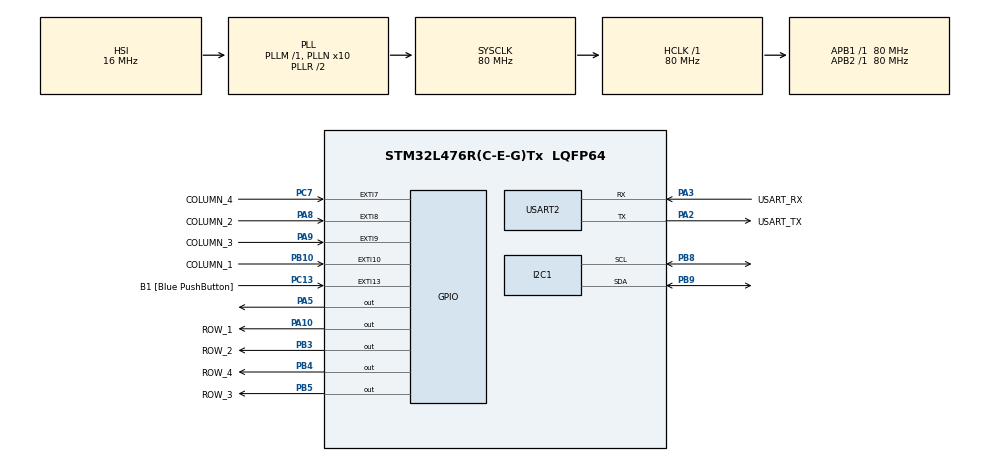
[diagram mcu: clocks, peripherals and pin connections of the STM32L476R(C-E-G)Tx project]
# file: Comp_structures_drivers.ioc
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I2C1.Timing=0x10909CEC
Mcu.Family=STM32L4
Mcu.Name=STM32L476R(C-E-G)Tx
Mcu.Package=LQFP64
NVIC.EXTI15_10_IRQn=true\:0\:0\:false\:false\:true\:true\:true\:true
NVIC.EXTI9_5_IRQn=true\:0\:0\:false\:false\:true\:true\:true\:true
NVIC.PriorityGroup=NVIC_PRIORITYGROUP_4
NVIC.USART2_IRQn=true\:0\:0\:false\:false\:true\:true\:true\:true
PA10.GPIO_Label=ROW_1
PA10.Signal=GPIO_Output
PA13\ (JTMS-SWDIO).GPIO_Label=TMS
PA13\ (JTMS-SWDIO).Mode=Serial_Wire
PA13\ (JTMS-SWDIO).Signal=SYS_JTMS-SWDIO
PA14\ (JTCK-SWCLK).GPIO_Label=TCK
PA14\ (JTCK-SWCLK).Mode=Serial_Wire
PA14\ (JTCK-SWCLK).Signal=SYS_JTCK-SWCLK
PA2.GPIO_Label=USART_TX
PA2.GPIO_Mode=GPIO_MODE_AF_PP
PA2.GPIO_PuPd=GPIO_NOPULL
PA2.GPIO_Speed=GPIO_SPEED_FREQ_VERY_HIGH
PA2.Mode=Asynchronous
PA2.Signal=USART2_TX
PA3.GPIO_Label=USART_RX
PA3.GPIO_Mode=GPIO_MODE_AF_PP
PA3.GPIO_PuPd=GPIO_NOPULL
PA3.GPIO_Speed=GPIO_SPEED_FREQ_VERY_HIGH
PA3.Mode=Asynchronous
PA3.Signal=USART2_RX
PA5.Signal=GPIO_Output
PA8.GPIO_Label=COLUMN_2
PA8.GPIO_PuPd=GPIO_PULLDOWN
PA8.Signal=GPXTI8
PA9.GPIO_Label=COLUMN_3
PA9.GPIO_PuPd=GPIO_PULLDOWN
PA9.Signal=GPXTI9
PB10.GPIO_Label=COLUMN_1
PB10.GPIO_PuPd=GPIO_PULLDOWN
PB10.Signal=GPXTI10
PB3\ (JTDO-TRACESWO).GPIO_Label=ROW_2
PB3\ (JTDO-TRACESWO).Signal=GPIO_Output
PB4\ (NJTRST).GPIO_Label=ROW_4
PB4\ (NJTRST).Signal=GPIO_Output
PB5.GPIO_Label=ROW_3
PB5.Signal=GPIO_Output
PB8.Mode=I2C
PB8.Signal=I2C1_SCL
PB9.Mode=I2C
PB9.Signal=I2C1_SDA
PC13.GPIO_Label=B1 [Blue PushButton]
PC13.GPIO_ModeDefaultEXTI=GPIO_MODE_IT_FALLING
PC13.GPIO_PuPd=GPIO_NOPULL
PC13.Signal=GPXTI13
PC14-OSC32_IN\ (PC14).Mode=LSE-External-Oscillator
PC14-OSC32_IN\ (PC14).Signal=RCC_OSC32_IN
PC15-OSC32_OUT\ (PC15).Mode=LSE-External-Oscillator
PC15-OSC32_OUT\ (PC15).Signal=RCC_OSC32_OUT
PC7.GPIO_Label=COLUMN_4
PC7.GPIO_PuPd=GPIO_PULLDOWN
PC7.Signal=GPXTI7
PH0-OSC_IN\ (PH0).Signal=RCC_OSC_IN
PH1-OSC_OUT\ (PH1).Signal=RCC_OSC_OUT
ProjectManager.HeapSize=0x200
ProjectManager.StackSize=0x400
ProjectManager.TargetToolchain=STM32CubeIDE
RCC.ADCFreq_Value=64000000
RCC.AHBFreq_Value=80000000
RCC.APB1Freq_Value=80000000
RCC.APB1TimFreq_Value=80000000
RCC.APB2Freq_Value=80000000
RCC.APB2TimFreq_Value=80000000
RCC.CortexFreq_Value=80000000
RCC.HCLKFreq_Value=80000000
RCC.HSE_VALUE=8000000
RCC.HSI_VALUE=16000000
RCC.MSI_VALUE=4000000
RCC.PLLN=10
RCC.PLLSourceVirtual=RCC_PLLSOURCE_HSI
RCC.PREFETCH_ENABLE=1
RCC.SYSCLKFreq_VALUE=80000000
RCC.SYSCLKSource=RCC_SYSCLKSOURCE_PLLCLK
RCC.USBFreq_Value=64000000
RCC.VCOOutputFreq_Value=160000000
USART2.VirtualMode-Asynchronous=VM_ASYNC
board=NUCLEO-L476RG

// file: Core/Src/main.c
/* USER CODE BEGIN Header */
/**
  ******************************************************************************
  * @file           : main.c
  * @brief          : Main program body
  ******************************************************************************
  * @attention
  *
  * Copyright (c) 2023 STMicroelectronics.
  * All rights reserved.
  *
  * This software is licensed under terms that can be found in the LICENSE file
  * in the root directory of this software component.
  * If no LICENSE file comes with this software, it is provided AS-IS.
  *
  ******************************************************************************
  */
/* USER CODE END Header */
#include "main.h"

/* USER CODE BEGIN Includes */
#include <stdio.h>
#include "Keypad.h"
#include "ring_buffer.h"
#include<ssd1306.h>
#include<ssd1306_fonts.h>
#include <string.h>
/* USER CODE END Includes */

I2C_HandleTypeDef hi2c1;

UART_HandleTypeDef huart2;

/* USER CODE BEGIN PV */
uint16_t key_event=0xFF; //key event is declared
uint8_t keypad_data[5]; //create the data buffer
ring_buffer_t Ring_buffer_keypad;//define the ring buffer
uint8_t Password[ ] = {2,0,0,4,0x0F}; //define the password

/* USER CODE END PV */

void SystemClock_Config(void);
static void MX_GPIO_Init(void);
static void MX_USART2_UART_Init(void);
static void MX_I2C1_Init(void);

/* USER CODE BEGIN 0 */

int _write(int file, char *ptr, int len)
{
	HAL_UART_Transmit(&huart2, (uint8_t*)ptr, len, HAL_MAX_DELAY);
	return len;
}
void HAL_GPIO_EXTI_Callback(uint16_t GPIO_Pin)
{
		  key_event=GPIO_Pin;//save the column activate
}
int memcmp(const void *str1, const void *str2, size_t n);//function for comparing two strings

/* USER CODE END 0 */

int main(void)
{

  /* MCU Configuration--------------------------------------------------------*/

  /* Reset of all peripherals, Initializes the Flash interface and the Systick. */
  HAL_Init();

  /* Configure the system clock */
  SystemClock_Config();

  /* Initialize all configured peripherals */
  MX_GPIO_Init();
  MX_USART2_UART_Init();
  MX_I2C1_Init();

  /* Infinite loop */
  /* USER CODE BEGIN WHILE */

  keypad_init(); //keypad initialization
  ring_buffer_init(&Ring_buffer_keypad, keypad_data, 5);//ring buffer initialization
  ssd1306_Init();//OLED screen initialization

  while (1)
  {
	  if(key_event!=0xFF)
	  {
		  uint16_t key = KeyPad_handler(key_event);//get the key value
		  if(key!= 0xFF)//check if the key pressed has a correct value
		  {
			  ring_buffer_put(&Ring_buffer_keypad, key);//write the key data in the buffer
		  }
		  key_event = 0xFF; //reset the key event

		  if(key == 0x0E) //check if the * key is pressed
		  {
		  ring_buffer_reset(&Ring_buffer_keypad); // Reset the data buffer if * key was pressed
		  memset(keypad_data,'\0',sizeof(keypad_data)); // Clean buffer to restart sequence
		  ssd1306_Fill(Black); // Clear the OLED display with black color.
		  ssd1306_SetCursor(20, 20); // Set the cursor position for text.
		  ssd1306_WriteString("Reset, waiting",Font_7x10, White);// Display "Reset, waiting" in white color.
		  ssd1306_UpdateScreen(); // Update the OLED screen.
		  }

		  if(  ring_buffer_is_full(&Ring_buffer_keypad)== 1) //check if the sequences is complete
		  {

			  ring_buffer_get(&Ring_buffer_keypad, keypad_data);//read the buffer data

			  if(memcmp(keypad_data,Password,5)==0)//check if the input sequence is the same as the password
			  {

				  ssd1306_Fill(White); // Clear the OLED display with black color.
				  ssd1306_SetCursor(20, 20); // Set the cursor position for text.
				  ssd1306_WriteString("Pass", Font_7x10,Black);// Display "Pass" in white color.
				  ssd1306_UpdateScreen();//update the screen
				  ring_buffer_reset(&Ring_buffer_keypad);// Reset the ring buffer for wait a new sequence

			  }
			  if(memcmp(keypad_data,Password,5)!=0)
			  {
				  ssd1306_Fill(Black); // Clear the OLED display with black color.
				  ssd1306_SetCursor(20, 20); // Set the cursor position for text.
				  ssd1306_WriteString("Fail", Font_7x10,White);// Display "Fail" in white color.
				  ssd1306_UpdateScreen();//update the screen
			  }
		  }
	  }

    /* USER CODE END WHILE */

  }
}

void SystemClock_Config(void)
{
  RCC_OscInitTypeDef RCC_OscInitStruct = {0};
  RCC_ClkInitTypeDef RCC_ClkInitStruct = {0};

  /** Configure the main internal regulator output voltage
  */
  if (HAL_PWREx_ControlVoltageScaling(PWR_REGULATOR_VOLTAGE_SCALE1) != HAL_OK)
  {
    Error_Handler();
  }

  /** Initializes the RCC Oscillators according to the specified parameters
  * in the RCC_OscInitTypeDef structure.
  */
  RCC_OscInitStruct.OscillatorType = RCC_OSCILLATORTYPE_HSI;
  RCC_OscInitStruct.HSIState = RCC_HSI_ON;
  RCC_OscInitStruct.HSICalibrationValue = RCC_HSICALIBRATION_DEFAULT;
  RCC_OscInitStruct.PLL.PLLState = RCC_PLL_ON;
  RCC_OscInitStruct.PLL.PLLSource = RCC_PLLSOURCE_HSI;
  RCC_OscInitStruct.PLL.PLLM = 1;
  RCC_OscInitStruct.PLL.PLLN = 10;
  RCC_OscInitStruct.PLL.PLLP = RCC_PLLP_DIV7;
  RCC_OscInitStruct.PLL.PLLQ = RCC_PLLQ_DIV2;
  RCC_OscInitStruct.PLL.PLLR = RCC_PLLR_DIV2;
  if (HAL_RCC_OscConfig(&RCC_OscInitStruct) != HAL_OK)
  {
    Error_Handler();
  }

  /** Initializes the CPU, AHB and APB buses clocks
  */
  RCC_ClkInitStruct.ClockType = RCC_CLOCKTYPE_HCLK|RCC_CLOCKTYPE_SYSCLK
                              |RCC_CLOCKTYPE_PCLK1|RCC_CLOCKTYPE_PCLK2;
  RCC_ClkInitStruct.SYSCLKSource = RCC_SYSCLKSOURCE_PLLCLK;
  RCC_ClkInitStruct.AHBCLKDivider = RCC_SYSCLK_DIV1;
  RCC_ClkInitStruct.APB1CLKDivider = RCC_HCLK_DIV1;
  RCC_ClkInitStruct.APB2CLKDivider = RCC_HCLK_DIV1;

  if (HAL_RCC_ClockConfig(&RCC_ClkInitStruct, FLASH_LATENCY_4) != HAL_OK)
  {
    Error_Handler();
  }
}

static void MX_I2C1_Init(void)
{

  hi2c1.Instance = I2C1;
  hi2c1.Init.Timing = 0x10909CEC;
  hi2c1.Init.OwnAddress1 = 0;
  hi2c1.Init.AddressingMode = I2C_ADDRESSINGMODE_7BIT;
  hi2c1.Init.DualAddressMode = I2C_DUALADDRESS_DISABLE;
  hi2c1.Init.OwnAddress2 = 0;
  hi2c1.Init.OwnAddress2Masks = I2C_OA2_NOMASK;
  hi2c1.Init.GeneralCallMode = I2C_GENERALCALL_DISABLE;
  hi2c1.Init.NoStretchMode = I2C_NOSTRETCH_DISABLE;
  if (HAL_I2C_Init(&hi2c1) != HAL_OK)
  {
    Error_Handler();
  }

  /** Configure Analogue filter
  */
  if (HAL_I2CEx_ConfigAnalogFilter(&hi2c1, I2C_ANALOGFILTER_ENABLE) != HAL_OK)
  {
    Error_Handler();
  }

  /** Configure Digital filter
  */
  if (HAL_I2CEx_ConfigDigitalFilter(&hi2c1, 0) != HAL_OK)
  {
    Error_Handler();
  }

}

static void MX_USART2_UART_Init(void)
{

  huart2.Instance = USART2;
  huart2.Init.BaudRate = 115200;
  huart2.Init.WordLength = UART_WORDLENGTH_8B;
  huart2.Init.StopBits = UART_STOPBITS_1;
  huart2.Init.Parity = UART_PARITY_NONE;
  huart2.Init.Mode = UART_MODE_TX_RX;
  huart2.Init.HwFlowCtl = UART_HWCONTROL_NONE;
  huart2.Init.OverSampling = UART_OVERSAMPLING_16;
  huart2.Init.OneBitSampling = UART_ONE_BIT_SAMPLE_DISABLE;
  huart2.AdvancedInit.AdvFeatureInit = UART_ADVFEATURE_NO_INIT;
  if (HAL_UART_Init(&huart2) != HAL_OK)
  {
    Error_Handler();
  }

}

static void MX_GPIO_Init(void)
{
  GPIO_InitTypeDef GPIO_InitStruct = {0};

  /* GPIO Ports Clock Enable */
  __HAL_RCC_GPIOC_CLK_ENABLE();
  __HAL_RCC_GPIOH_CLK_ENABLE();
  __HAL_RCC_GPIOA_CLK_ENABLE();
  __HAL_RCC_GPIOB_CLK_ENABLE();

  /*Configure GPIO pin Output Level */
  HAL_GPIO_WritePin(GPIOA, GPIO_PIN_5|ROW_1_Pin, GPIO_PIN_RESET);

  /*Configure GPIO pin Output Level */
  HAL_GPIO_WritePin(GPIOB, ROW_2_Pin|ROW_4_Pin|ROW_3_Pin, GPIO_PIN_RESET);

  /*Configure GPIO pin : B1_Pin */
  GPIO_InitStruct.Pin = B1_Pin;
  GPIO_InitStruct.Mode = GPIO_MODE_IT_FALLING;
  GPIO_InitStruct.Pull = GPIO_NOPULL;
  HAL_GPIO_Init(B1_GPIO_Port, &GPIO_InitStruct);

  /*Configure GPIO pins : PA5 ROW_1_Pin */
  GPIO_InitStruct.Pin = GPIO_PIN_5|ROW_1_Pin;
  GPIO_InitStruct.Mode = GPIO_MODE_OUTPUT_PP;
  GPIO_InitStruct.Pull = GPIO_NOPULL;
  GPIO_InitStruct.Speed = GPIO_SPEED_FREQ_LOW;
  HAL_GPIO_Init(GPIOA, &GPIO_InitStruct);

  /*Configure GPIO pin : COLUMN_1_Pin */
  GPIO_InitStruct.Pin = COLUMN_1_Pin;
  GPIO_InitStruct.Mode = GPIO_MODE_IT_RISING;
  GPIO_InitStruct.Pull = GPIO_PULLDOWN;
  HAL_GPIO_Init(COLUMN_1_GPIO_Port, &GPIO_InitStruct);

  /*Configure GPIO pin : COLUMN_4_Pin */
  GPIO_InitStruct.Pin = COLUMN_4_Pin;
  GPIO_InitStruct.Mode = GPIO_MODE_IT_RISING;
  GPIO_InitStruct.Pull = GPIO_PULLDOWN;
  HAL_GPIO_Init(COLUMN_4_GPIO_Port, &GPIO_InitStruct);

  /*Configure GPIO pins : COLUMN_2_Pin COLUMN_3_Pin */
  GPIO_InitStruct.Pin = COLUMN_2_Pin|COLUMN_3_Pin;
  GPIO_InitStruct.Mode = GPIO_MODE_IT_RISING;
  GPIO_InitStruct.Pull = GPIO_PULLDOWN;
  HAL_GPIO_Init(GPIOA, &GPIO_InitStruct);

  /*Configure GPIO pins : ROW_2_Pin ROW_4_Pin ROW_3_Pin */
  GPIO_InitStruct.Pin = ROW_2_Pin|ROW_4_Pin|ROW_3_Pin;
  GPIO_InitStruct.Mode = GPIO_MODE_OUTPUT_PP;
  GPIO_InitStruct.Pull = GPIO_NOPULL;
  GPIO_InitStruct.Speed = GPIO_SPEED_FREQ_LOW;
  HAL_GPIO_Init(GPIOB, &GPIO_InitStruct);

  /* EXTI interrupt init*/
  HAL_NVIC_SetPriority(EXTI9_5_IRQn, 0, 0);
  HAL_NVIC_EnableIRQ(EXTI9_5_IRQn);

  HAL_NVIC_SetPriority(EXTI15_10_IRQn, 0, 0);
  HAL_NVIC_EnableIRQ(EXTI15_10_IRQn);

}

void Error_Handler(void)
{
  __disable_irq();
  while (1)
  {
  }
}
